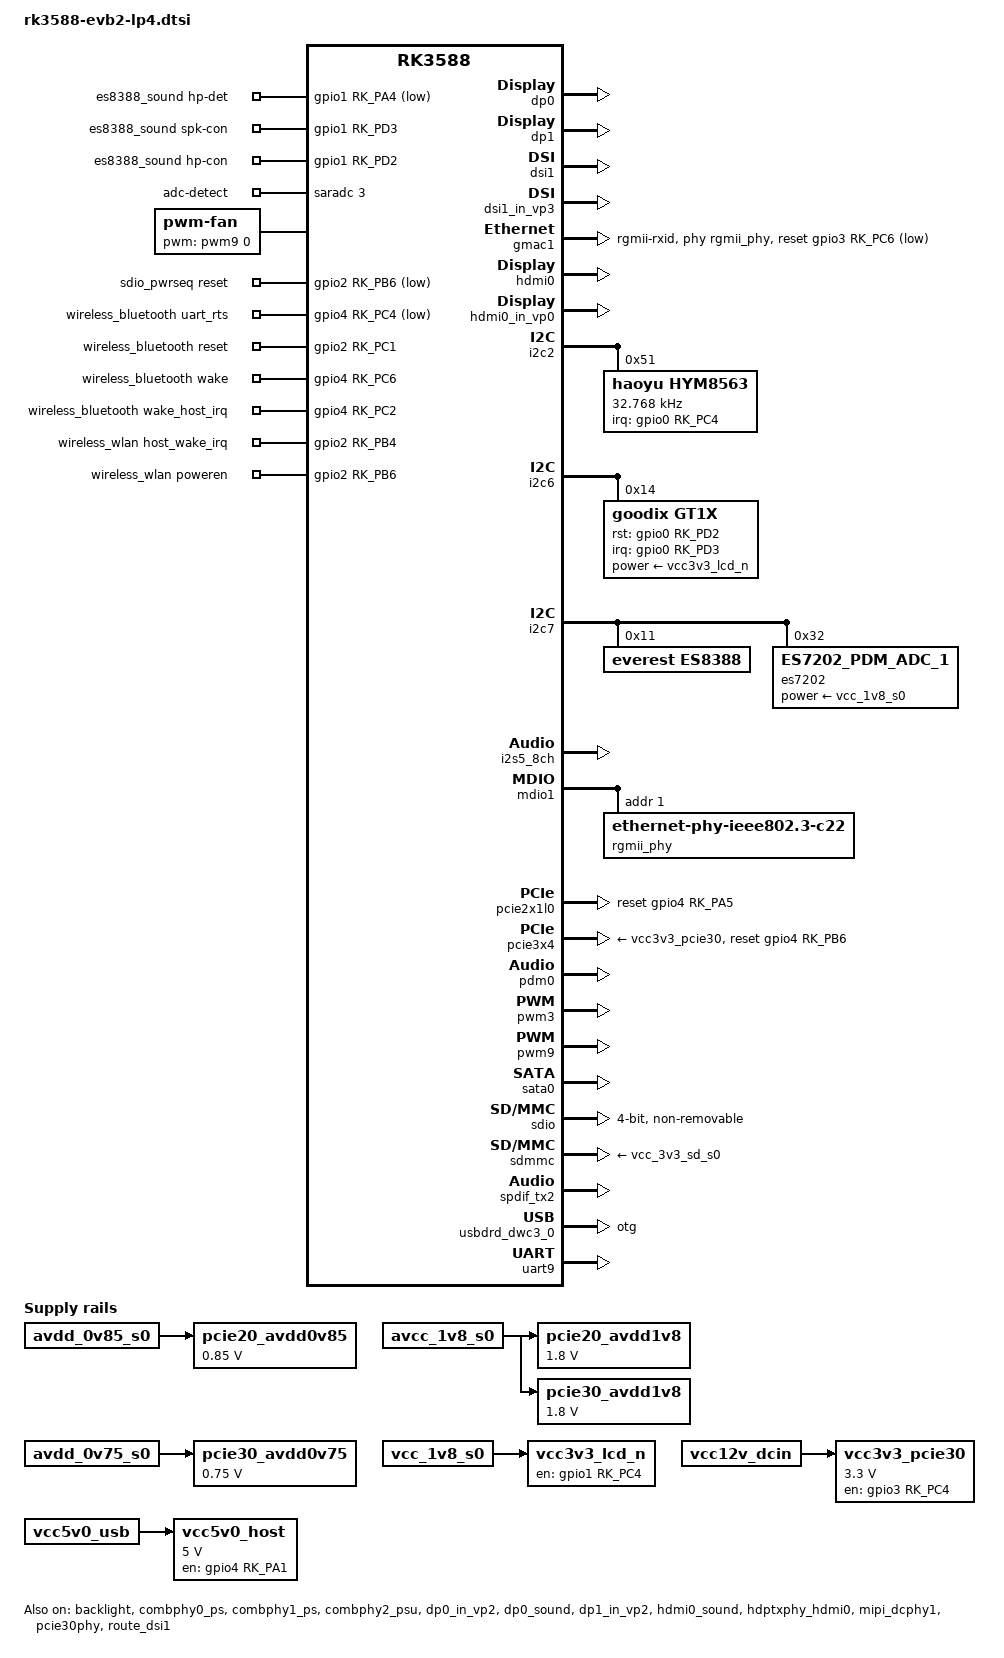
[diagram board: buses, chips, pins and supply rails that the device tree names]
// SPDX-License-Identifier: (GPL-2.0+ OR MIT)
/*
 * Copyright (c) 2021 Rockchip Electronics Co., Ltd.
 *
 */

#include "rk3588.dtsi"
#include "rk3588-evb.dtsi"
#include "rk3588-rk806-dual.dtsi"

/ {
	es7202_sound_micarray: es7202-sound-micarray {
		status = "okay";
		compatible = "simple-audio-card";
		simple-audio-card,format = "i2s";
		simple-audio-card,name = "rockchip,sound-micarray";
		simple-audio-card,mclk-fs = <256>;
		simple-audio-card,dai-link@0 {
			format = "pdm";
			cpu {
				sound-dai = <&pdm0>;
			};
			codec {
				sound-dai = <&es7202>;
			};
		};
	};

	es8388_sound: es8388-sound {
		status = "okay";
		compatible = "rockchip,multicodecs-card";
		rockchip,card-name = "rockchip-es8388";
		hp-det-gpio = <&gpio1 RK_PA4 GPIO_ACTIVE_LOW>;
		io-channels = <&saradc 3>;
		io-channel-names = "adc-detect";
		keyup-threshold-microvolt = <1800000>;
		poll-interval = <100>;
		spk-con-gpio = <&gpio1 RK_PD3 GPIO_ACTIVE_HIGH>;
		hp-con-gpio = <&gpio1 RK_PD2 GPIO_ACTIVE_HIGH>;
		rockchip,format = "i2s";
		rockchip,mclk-fs = <256>;
		rockchip,cpu = <&i2s0_8ch>;
		rockchip,codec = <&es8388>;
		rockchip,audio-routing =
			"Headphone", "LOUT1",
			"Headphone", "ROUT1",
			"Speaker", "LOUT2",
			"Speaker", "ROUT2",
			"Headphone", "Headphone Power",
			"Headphone", "Headphone Power",
			"Speaker", "Speaker Power",
			"Speaker", "Speaker Power",
			"LINPUT1", "Main Mic",
			"LINPUT2", "Main Mic",
			"RINPUT1", "Headset Mic",
			"RINPUT2", "Headset Mic";
		pinctrl-names = "default";
		pinctrl-0 = <&hp_det>;
		play-pause-key {
			label = "playpause";
			linux,code = <KEY_PLAYPAUSE>;
			press-threshold-microvolt = <2000>;
		};
	};

	fan: pwm-fan {
		compatible = "pwm-fan";
		#cooling-cells = <2>;
		pwms = <&pwm9 0 50000 0>;
	};

	pcie20_avdd0v85: pcie20-avdd0v85 {
		compatible = "regulator-fixed";
		regulator-name = "pcie20_avdd0v85";
		regulator-boot-on;
		regulator-always-on;
		regulator-min-microvolt = <850000>;
		regulator-max-microvolt = <850000>;
		vin-supply = <&avdd_0v85_s0>;
	};

	pcie20_avdd1v8: pcie20-avdd1v8 {
		compatible = "regulator-fixed";
		regulator-name = "pcie20_avdd1v8";
		regulator-boot-on;
		regulator-always-on;
		regulator-min-microvolt = <1800000>;
		regulator-max-microvolt = <1800000>;
		vin-supply = <&avcc_1v8_s0>;
	};

	pcie30_avdd0v75: pcie30-avdd0v75 {
		compatible = "regulator-fixed";
		regulator-name = "pcie30_avdd0v75";
		regulator-boot-on;
		regulator-always-on;
		regulator-min-microvolt = <750000>;
		regulator-max-microvolt = <750000>;
		vin-supply = <&avdd_0v75_s0>;
	};

	pcie30_avdd1v8: pcie30-avdd1v8 {
		compatible = "regulator-fixed";
		regulator-name = "pcie30_avdd1v8";
		regulator-boot-on;
		regulator-always-on;
		regulator-min-microvolt = <1800000>;
		regulator-max-microvolt = <1800000>;
		vin-supply = <&avcc_1v8_s0>;
	};

	sdio_pwrseq: sdio-pwrseq {
		compatible = "mmc-pwrseq-simple";
		clocks = <&hym8563>;
		clock-names = "ext_clock";
		pinctrl-names = "default";
		pinctrl-0 = <&wifi_enable_h>;
		/*
		 * On the module itself this is one of these (depending
		 * on the actual card populated):
		 * - SDIO_RESET_L_WL_REG_ON
		 * - PDN (power down when low)
		 */
		post-power-on-delay-ms = <200>;
		reset-gpios = <&gpio2 RK_PB6 GPIO_ACTIVE_LOW>;
	};

	vcc3v3_lcd_n: vcc3v3-lcd0-n {
		compatible = "regulator-fixed";
		regulator-name = "vcc3v3_lcd0_n";
		regulator-boot-on;
		enable-active-high;
		gpio = <&gpio1 RK_PC4 GPIO_ACTIVE_HIGH>;
		vin-supply = <&vcc_1v8_s0>;
	};

	vcc3v3_pcie30: vcc3v3-pcie30 {
		compatible = "regulator-fixed";
		regulator-name = "vcc3v3_pcie30";
		regulator-min-microvolt = <3300000>;
		regulator-max-microvolt = <3300000>;
		enable-active-high;
		gpios = <&gpio3 RK_PC4 GPIO_ACTIVE_HIGH>;
		startup-delay-us = <5000>;
		vin-supply = <&vcc12v_dcin>;
	};

	vcc5v0_host: vcc5v0-host {
		compatible = "regulator-fixed";
		regulator-name = "vcc5v0_host";
		regulator-boot-on;
		regulator-always-on;
		regulator-min-microvolt = <5000000>;
		regulator-max-microvolt = <5000000>;
		enable-active-high;
		gpio = <&gpio4 RK_PA1 GPIO_ACTIVE_HIGH>;
		vin-supply = <&vcc5v0_usb>;
		pinctrl-names = "default";
		pinctrl-0 = <&vcc5v0_host_en>;
	};

	wireless_bluetooth: wireless-bluetooth {
		compatible = "bluetooth-platdata";
		clocks = <&hym8563>;
		clock-names = "ext_clock";
		uart_rts_gpios = <&gpio4 RK_PC4 GPIO_ACTIVE_LOW>;
		pinctrl-names = "default", "rts_gpio";
		pinctrl-0 = <&uart9m0_rtsn>, <&bt_gpio>;
		pinctrl-1 = <&uart9_gpios>;
		BT,reset_gpio    = <&gpio2 RK_PC1 GPIO_ACTIVE_HIGH>;
		BT,wake_gpio     = <&gpio4 RK_PC6 GPIO_ACTIVE_HIGH>;
		BT,wake_host_irq = <&gpio4 RK_PC2 GPIO_ACTIVE_HIGH>;
		status = "okay";
	};

	wireless_wlan: wireless-wlan {
		compatible = "wlan-platdata";
		wifi_chip_type = "ap6398s";
		pinctrl-names = "default";
		pinctrl-0 = <&wifi_host_wake_irq>;
		WIFI,host_wake_irq = <&gpio2 RK_PB4 GPIO_ACTIVE_HIGH>;
		WIFI,poweren_gpio = <&gpio2 RK_PB6 GPIO_ACTIVE_HIGH>;
		status = "okay";
	};
};

&backlight {
	pwms = <&pwm3 0 25000 0>;
	status = "okay";
};

&combphy0_ps {
	status = "okay";
};

&combphy1_ps {
	status = "okay";
};

&combphy2_psu {
	status = "okay";
};

&dp0 {
	pinctrl-0 = <&dp0m2_pins>;
	pinctrl-names = "default";
	status = "okay";
};

&dp0_in_vp2 {
	status = "okay";
};

&dp0_sound {
	status = "okay";
};

&dp1 {
	pinctrl-0 = <&dp1m2_pins>;
	pinctrl-names = "default";
	status = "okay";
};

&dp1_in_vp2 {
	status = "okay";
};

/*
 * mipi_dcphy1 needs to be enabled
 * when dsi1 is enabled
 */
&dsi1 {
	status = "okay";
};

&dsi1_in_vp2 {
	status = "disabled";
};

&dsi1_in_vp3 {
	status = "okay";
};

&dsi1_panel {
	power-supply = <&vcc3v3_lcd_n>;

	reset-gpios = <&gpio4 RK_PA0 GPIO_ACTIVE_LOW>;
	pinctrl-names = "default";
	pinctrl-0 = <&lcd_rst_gpio>;
};

&gmac1 {
	/* Use rgmii-rxid mode to disable rx delay inside Soc */
	phy-mode = "rgmii-rxid";
	clock_in_out = "output";

	snps,reset-gpio = <&gpio3 RK_PC6 GPIO_ACTIVE_LOW>;
	snps,reset-active-low;
	/* Reset time is 20ms, 100ms for rtl8211f */
	snps,reset-delays-us = <0 20000 100000>;

	pinctrl-names = "default";
	pinctrl-0 = <&gmac1_miim
		     &gmac1_tx_bus2
		     &gmac1_rx_bus2
		     &gmac1_rgmii_clk
		     &gmac1_rgmii_bus>;

	tx_delay = <0x45>;
	/* rx_delay = <0x3f>; */

	phy-handle = <&rgmii_phy>;
	status = "okay";
};

&hdmi0 {
	enable-gpios = <&gpio3 RK_PC5 GPIO_ACTIVE_HIGH>;
	status = "okay";
};

&hdmi0_in_vp0 {
	status = "okay";
};

&hdmi0_sound {
	status = "okay";
};

&hdptxphy_hdmi0 {
	status = "okay";
};

&i2c2 {
	status = "okay";

	hym8563: hym8563@51 {
		compatible = "haoyu,hym8563";
		reg = <0x51>;
		#clock-cells = <0>;
		clock-frequency = <32768>;
		clock-output-names = "hym8563";
		pinctrl-names = "default";
		pinctrl-0 = <&hym8563_int>;
		interrupt-parent = <&gpio0>;
		interrupts = <RK_PC4 IRQ_TYPE_LEVEL_LOW>;
		wakeup-source;
	};
};

&i2c6 {
	status = "okay";
	gt1x: gt1x@14 {
		compatible = "goodix,gt1x";
		reg = <0x14>;
		pinctrl-names = "default";
		pinctrl-0 = <&touch_gpio>;
		goodix,rst-gpio = <&gpio0 RK_PD2 GPIO_ACTIVE_HIGH>;
		goodix,irq-gpio = <&gpio0 RK_PD3 IRQ_TYPE_LEVEL_LOW>;
		power-supply = <&vcc3v3_lcd_n>;
	};
};

&i2c7 {
	status = "okay";

	es8388: es8388@11 {
		status = "okay";
		#sound-dai-cells = <0>;
		compatible = "everest,es8388", "everest,es8323";
		reg = <0x11>;
		clocks = <&cru I2S0_8CH_MCLKOUT>;
		clock-names = "mclk";
		assigned-clocks = <&cru I2S0_8CH_MCLKOUT>;
		assigned-clock-rates = <12288000>;
		pinctrl-names = "default";
		pinctrl-0 = <&i2s0_mclk>;
	};

	es7202: es7202@32 {
		status = "okay";
		#sound-dai-cells = <0>;
		compatible = "ES7202_PDM_ADC_1";
		power-supply = <&vcc_1v8_s0>;	/* only 1v8 or 3v3, default is 3v3 */
		reg = <0x32>;
	};
};

&i2s5_8ch {
	status = "okay";
};

&mdio1 {
	rgmii_phy: phy@1 {
		compatible = "ethernet-phy-ieee802.3-c22";
		reg = <0x1>;
	};
};

&mipi_dcphy1 {
	status = "okay";
};

&pcie2x1l0 {
	reset-gpios = <&gpio4 RK_PA5 GPIO_ACTIVE_HIGH>;
	status = "okay";
};

&pcie30phy {
	status = "okay";
};

&pcie3x4 {
	reset-gpios = <&gpio4 RK_PB6 GPIO_ACTIVE_HIGH>;
	vpcie3v3-supply = <&vcc3v3_pcie30>;
	status = "okay";
};

&pdm0 {
	status = "okay";
	pinctrl-names = "default";
	pinctrl-0 = <&pdm0m0_clk
		     &pdm0m0_sdi0>;
};

&pinctrl {
	headphone {
		hp_det: hp-det {
			rockchip,pins = <1 RK_PA4 RK_FUNC_GPIO &pcfg_pull_none>;
		};
	};

	hym8563 {
		hym8563_int: hym8563-int {
			rockchip,pins = <0 RK_PC4 RK_FUNC_GPIO &pcfg_pull_up>;
		};
	};

	lcd {
		lcd_rst_gpio: lcd-rst-gpio {
			rockchip,pins = <4 RK_PA0 RK_FUNC_GPIO &pcfg_pull_none>;
		};
	};

	sdio-pwrseq {
		wifi_enable_h: wifi-enable-h {
		       rockchip,pins = <2 RK_PB6 RK_FUNC_GPIO &pcfg_pull_none>;
	       };
	};

	touch {
		touch_gpio: touch-gpio {
			rockchip,pins =
				<0 RK_PD2 RK_FUNC_GPIO &pcfg_pull_up>,
				<0 RK_PD3 RK_FUNC_GPIO &pcfg_pull_none>;
		};
	};

	usb {
		vcc5v0_host_en: vcc5v0-host-en {
			rockchip,pins = <4 RK_PA1 RK_FUNC_GPIO &pcfg_pull_none>;
		};
	};

	wireless-bluetooth {
		uart9_gpios: uart9-gpios {
			rockchip,pins = <4 RK_PC4 RK_FUNC_GPIO &pcfg_pull_none>;
		};

		bt_gpio: bt-gpio {
			rockchip,pins =
				<2 RK_PC1 RK_FUNC_GPIO &pcfg_pull_none>,
				<4 RK_PC6 RK_FUNC_GPIO &pcfg_pull_up>,
				<4 RK_PC2 RK_FUNC_GPIO &pcfg_pull_down>;
		};
	};

	wireless-wlan {
		wifi_host_wake_irq: wifi-host-wake-irq {
			rockchip,pins = <2 RK_PB4 RK_FUNC_GPIO &pcfg_pull_down>;
		};
	};
};

&pwm3 {
	status = "okay";
	pinctrl-0 = <&pwm3m1_pins>;
};

&pwm9 {
	pinctrl-0 = <&pwm9m2_pins>;
	status = "okay";
};

&route_dsi1 {
	status = "okay";
	connect = <&vp3_out_dsi1>;
};

&sata0 {
	status = "okay";
};

&sdio {
	max-frequency = <150000000>;
	no-sd;
	no-mmc;
	bus-width = <4>;
	disable-wp;
	cap-sd-highspeed;
	cap-sdio-irq;
	keep-power-in-suspend;
	mmc-pwrseq = <&sdio_pwrseq>;
	non-removable;
	pinctrl-names = "default";
	pinctrl-0 = <&sdiom0_pins>;
	sd-uhs-sdr104;
	status = "okay";
};

&sdmmc {
	status = "okay";
	vmmc-supply = <&vcc_3v3_sd_s0>;
};

&spdif_tx2 {
	status = "okay";
};

&u2phy0_otg {
	phy-supply = <&vcc5v0_host>;
};

&u2phy1_otg {
	phy-supply = <&vcc5v0_host>;
};

&u2phy2_host {
	phy-supply = <&vcc5v0_host>;
};

&u2phy3_host {
	phy-supply = <&vcc5v0_host>;
};

&usbdp_phy0 {
	rockchip,dp-lane-mux = <2 3>;
};

&usbdp_phy1 {
	rockchip,dp-lane-mux = <2 3>;
};

&usbdrd_dwc3_0 {
	dr_mode = "otg";
	extcon = <&u2phy0>;
	status = "okay";
};

&uart9 {
	status = "okay";
	pinctrl-names = "default";
	pinctrl-0 = <&uart9m0_xfer &uart9m0_ctsn>;
};

&vcc3v3_lcd_n {
	gpio = <&gpio1 RK_PC4 GPIO_ACTIVE_HIGH>;
	enable-active-high;
};
